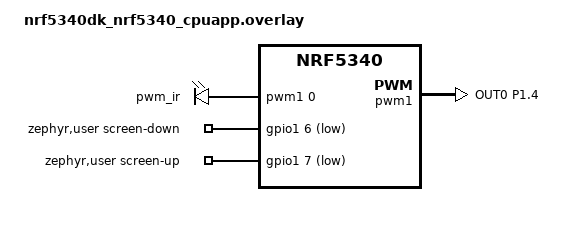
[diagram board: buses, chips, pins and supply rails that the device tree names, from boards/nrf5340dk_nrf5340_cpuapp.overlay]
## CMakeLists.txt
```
# SPDX-License-Identifier: Apache-2.0

cmake_minimum_required(VERSION 3.20.0)
find_package(Zephyr REQUIRED HINTS $ENV{ZEPHYR_BASE})
project(blinky_pwm)

target_sources(app PRIVATE
  src/main.c
  src/ir_remote.c
  src/ir_protocol.c
  src/ir_thread.c
  src/screen_thread.c
  src/projector_thread.c
)
```

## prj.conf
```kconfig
CONFIG_STDOUT_CONSOLE=y
CONFIG_PRINTK=y
CONFIG_PWM=y
CONFIG_LOG=y
CONFIG_LOG_PRINTK=y
CONFIG_LOG_MODE_IMMEDIATE=y
CONFIG_PWM_LOG_LEVEL_DBG=n
```

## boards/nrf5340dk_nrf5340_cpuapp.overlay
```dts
/ {
  aliases {
    pwm-ir = &pwm_ir;
  };

  pwm-ir {
    compatible = "pwm-leds";
    pwm_ir: pwm_ir_0 {
      pwms = <&pwm1 0 PWM_MSEC(20) PWM_POLARITY_NORMAL>;
    };
  };

  zephyr,user {
    screen-down-gpios = <&gpio1 6 GPIO_ACTIVE_LOW>;
    screen-up-gpios   = <&gpio1 7 GPIO_ACTIVE_LOW>;
  };
};

&pinctrl {
  pwm1_default: pwm1_default {
    group1 {
      psels = <NRF_PSEL(PWM_OUT0, 1, 4)>;
    };
  };

  pwm1_sleep: pwm1_sleep {
    group1 {
      psels = <NRF_PSEL(PWM_OUT0, 1, 4)>;
      low-power-enable;
    };
  };
};

&pwm1 {
  status = "okay";
  pinctrl-0 = <&pwm1_default>;
  pinctrl-1 = <&pwm1_sleep>;
  pinctrl-names = "default", "sleep";
};
```

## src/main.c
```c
#include <zephyr/kernel.h>
#include <zephyr/sys/printk.h>

#include "screen_thread.h"
#include "projector_thread.h"

void main(void)
{
  int ret;

  printk("Start main thread\n");

  ret = projector_init();
  if (ret != 0) {
    printk("Error: projector_init() failed with %d\n", ret);
  }

  ret = screen_init();
  if (ret != 0) {
    printk("Error: screen_init() failed with %d\n", ret);
  }

  while (1) {
    // projector_power_on();
    // projector_power_off();

    ret = screen_down();
    if (ret != 0) {
      printk("Error: screen_down() failed with %d\n", ret);
    }

    ret = screen_up();
    if (ret != 0) {
      printk("Error: screen_up() failed with %d\n", ret);
    }

    k_sleep(K_SECONDS(2U));
  }
}
```

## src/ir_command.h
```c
#ifndef IR_COMMAND_H__
#define IR_COMMAND_H__

#include <stdint.h>

typedef struct {
  uint16_t address;
  uint8_t command;
} ir_command_t;

#define IR_COMMAND_BUILD(_address, _command)  \
  (ir_command_t) {                            \
    .address = _address,                      \
    .command = _command,                      \
  }

#endif // IR_COMMAND_H__
```

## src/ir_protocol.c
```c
#include <stdint.h>
#include <errno.h>

#include "ir_protocol.h"

static int build_payload_nec(ir_protocol_t const * const protocol, ir_command_t cmd, uint32_t *payload);

int ir_protocol_build(ir_protocol_t const * const conf, ir_command_t cmd, uint32_t *payload) {
  if (conf->type == IR_PROTOCOL_TYPE_NEC) {
    return build_payload_nec(conf, cmd, payload);
  }

  return -EINVAL; // unknown protocol
}

static int build_payload_nec(ir_protocol_t const * const conf, ir_command_t cmd, uint32_t *payload) {
  uint32_t p = 0;

  if (conf->info.nec.address_size == 16) {
    p |= (( cmd.address & 0xFFFF) << 0);
  } else if (conf->info.nec.address_size == 8) {
    p |= (( cmd.address & 0xFF) << 0);
    p |= ((~cmd.address & 0xFF) << 8);
  } else {
    return -EINVAL; // unknown address size
  }

  p |= (( cmd.command & 0xFF) << 16);
  p |= ((~cmd.command & 0xFF) << 24);

  *payload = p;

  return 0;
}
```

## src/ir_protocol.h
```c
#ifndef IR_PROTOCOL_H__
#define IR_PROTOCOL_H__

#include <stdint.h>
#include "ir_command.h"

typedef enum {
  IR_PROTOCOL_TYPE_NEC,
} ir_protocol_type_t;

typedef struct {
  ir_protocol_type_t type;

  union {
    struct {
      int address_size;
    } nec;
  } info;
} ir_protocol_t;

int ir_protocol_build(ir_protocol_t const * const conf, ir_command_t cmd, uint32_t *payload);

#endif // IR_PROTOCOL_H__
```

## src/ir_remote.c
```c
#include "ir_remote.h"

#include <errno.h>
#include <stdint.h>
#include <stdbool.h>
#include <string.h>

#include <zephyr/kernel.h>
#include <zephyr/drivers/pwm.h>

#define ROUND_DIV(dividend, divisor) (((dividend) + ((divisor) - 1)) / (divisor))

static ir_remote_t conf;
static uint32_t frame_stop_wait_one;
static uint32_t frame_stop_wait_zero;

static struct k_timer frame_start_timer;
static struct k_timer frame_timer;

static struct {
  bool busy;
  int last_error;
  uint32_t start_state;
  uint32_t payload;
  uint32_t payload_iter; // bits
  uint32_t stop_wait;
} state;

static void frame_start_handler(struct k_timer *timer_id);
static void frame_handler(struct k_timer *timer_id);

static uint32_t burst_period = 0;
static inline int burst_on(void) { return pwm_set_dt(conf.pwm, burst_period, burst_period / 2U); }
static inline int burst_off(void) { return pwm_set_dt(conf.pwm, burst_period, 0); }

static int frame_send_next_bit(void);
static int frame_send_end(bool *done);
static void frame_send_error(int err);

int ir_remote_init(ir_remote_t init) {
  conf = init;

  if (!device_is_ready(conf.pwm->dev)) {
    return -ENODEV;
  }

  if (conf.one_mark_time.ticks != conf.zero_mark_time.ticks) {
    printk("Error: one_mark_time != zero_mark_time\n");
    return -EINVAL;
  }

  burst_period = ROUND_DIV((uint32_t)1e9, conf.burst_freq);
  frame_stop_wait_one = ROUND_DIV(conf.one_space_time.ticks, conf.one_mark_time.ticks);
  frame_stop_wait_zero = ROUND_DIV(conf.zero_space_time.ticks, conf.zero_mark_time.ticks);

  // initialize timers
  k_timer_init(&frame_start_timer, frame_start_handler, NULL);
  k_timer_init(&frame_timer, frame_handler, NULL);

  memset(&state, 0, sizeof(state));

  return 0;
}

int ir_remote_send(uint32_t payload) {
  int ret = 0;

  if (state.busy) {
    return -EBUSY;
  }

  state.busy          = true;
  state.start_state   = 0;
  state.payload       = payload;
  state.payload_iter  = 0; // bits
  state.stop_wait     = 0;
  state.last_error    = 0;

  if ((ret = burst_on()) != 0) {
    goto exception;
  }

  k_timer_start(&frame_start_timer, conf.head_mark_time, conf.head_space_time);

  return 0;

exception:
  state.busy = false;
  state.last_error = ret;
  return ret;
}

bool ir_remote_busy(void) {
  return state.busy;
}

int ir_remote_last_error_get(void) {
  return state.last_error;
}

void ir_remote_last_error_clear(void) {
  state.last_error = 0;
}

static void frame_start_handler(struct k_timer *timer_id) {
  int ret = 0;

  if (state.start_state == 0) {
    if ((ret = burst_off()) != 0) {
      goto exception;
    }

    state.start_state = 1;
  } else {
    k_timer_stop(&frame_start_timer);

    if ((ret = frame_send_next_bit()) != 0) {
      goto exception;
    }

    k_timer_start(&frame_timer, conf.one_mark_time, conf.one_mark_time);
  }

  return;

exception:
  frame_send_error(ret);
}

static void frame_handler(struct k_timer *timer_id) {
  int ret;

  if (state.stop_wait > 0) {
    if ((ret = burst_off()) != 0) {
      goto exception;
    }

    --state.stop_wait;
    return;
  }

  if (state.payload_iter >= conf.payload_size) {
    bool done = false;

    if ((ret = frame_send_end(&done)) != 0) {
      goto exception;
    }

    if (done) {
      k_timer_stop(&frame_timer);
      state.busy = false;
    }

    return;
  }

  if ((ret = frame_send_next_bit()) != 0) {
    goto exception;
  }

  return;

exception:
  frame_send_error(ret);
}

static int frame_send_next_bit(void) {
  int ret;

  if ((ret = burst_on()) != 0) {
    return ret;
  }

  uint32_t bit = (state.payload >> state.payload_iter) & 1;

  state.stop_wait = bit ? frame_stop_wait_one : frame_stop_wait_zero;
  state.payload_iter++;

  return 0;
}

static int frame_send_end(bool *done) {
  int ret;

  if (state.payload_iter == conf.payload_size) {
    // start end of frame burst
    if ((ret = burst_on()) != 0) {
      return ret;
    }
    state.payload_iter++;
  } else {
    // end of frame
    if ((ret = burst_off()) != 0) {
      return ret;
    }

    *done = true;
  }

  return 0;
}

static void frame_send_error(int err) {
  k_timer_stop(&frame_start_timer);
  k_timer_stop(&frame_timer);
  burst_off();
  state.busy = false;
  state.last_error = err;
}
```

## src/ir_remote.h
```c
#ifndef IR_REMOTE_H__
#define IR_REMOTE_H__

#include <stdint.h>
#include <stdbool.h>

#include <zephyr/kernel.h>
#include <zephyr/drivers/pwm.h>

typedef struct {
  const struct pwm_dt_spec *pwm;
  uint32_t burst_freq;
  uint32_t payload_size;
  k_timeout_t head_mark_time;
  k_timeout_t head_space_time;
  k_timeout_t one_mark_time;
  k_timeout_t one_space_time;
  k_timeout_t zero_mark_time;
  k_timeout_t zero_space_time;
} ir_remote_t;

int ir_remote_init(ir_remote_t init);
int ir_remote_send(uint32_t payload);
bool ir_remote_busy(void);
int ir_remote_last_error_get(void);
void ir_remote_last_error_clear(void);

#endif // IR_REMOTE_H__
```

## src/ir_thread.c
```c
#include <zephyr/kernel.h>
#include <zephyr/kernel/thread.h>
#include <zephyr/sys/printk.h>
#include <zephyr/device.h>
#include <zephyr/drivers/pwm.h>

#include "ir_command.h"
#include "ir_remote.h"
#include "ir_protocol.h"
#include "ir_thread.h"

#define IR_REMOTE_MESSAGE_QUEUE_SIZE  10
#define IR_REMOTE_THREAD_STACK_SIZE   1024
#define IR_REMOTE_THREAD_PRIORITY     5

static const struct pwm_dt_spec pwm_ir = PWM_DT_SPEC_GET(DT_ALIAS(pwm_ir));

K_MSGQ_DEFINE(my_msgq, sizeof(ir_command_t), IR_REMOTE_MESSAGE_QUEUE_SIZE, 4);
K_THREAD_STACK_DEFINE(my_stack_area, IR_REMOTE_THREAD_STACK_SIZE);

static ir_protocol_t ir_protocol;
static struct k_thread ir_thread_data;
static k_tid_t ir_thread_id;

static void ir_thread(void *a, void *b, void *c);

int ir_thread_init(void) {
  int ret;

  if (!device_is_ready(pwm_ir.dev)) {
    printk("Error: PWM device %s is not ready\n",
           pwm_ir.dev->name);
    return -ENODEV;
  }

  ir_protocol = (ir_protocol_t) {
    .type = IR_PROTOCOL_TYPE_NEC,
    .info = { .nec = { .address_size = 16 } },
  };

  ret = ir_remote_init((ir_remote_t) {
    .pwm              = &pwm_ir,
    .burst_freq       = 38000,
    .payload_size     = 32,
    .head_mark_time   = K_USEC(9000),
    .head_space_time  = K_USEC(4500),
    .one_mark_time    = K_NSEC(562500),
    .one_space_time   = K_NSEC(1687500),
    .zero_mark_time   = K_NSEC(562500),
    .zero_space_time  = K_NSEC(562500),
  });

  ir_thread_id = k_thread_create(
    &ir_thread_data, my_stack_area,
    K_THREAD_STACK_SIZEOF(my_stack_area),
    ir_thread, NULL, NULL, NULL,
    IR_REMOTE_THREAD_PRIORITY, 0, K_NO_WAIT
  );

  return ret;
}

int ir_thread_push(ir_command_t cmd) {
  return k_msgq_put(&my_msgq, &cmd, K_NO_WAIT);
}

static void ir_thread(void *a, void *b, void *c) {
  int ret;
  ir_command_t command;
  uint32_t payload;

  while (1) {
    // pop from queue
    ret = k_msgq_get(&my_msgq, &command, K_FOREVER);
    if (ret) {
      printk("Cannot pop from queue, reason: %d\n", ret);
      continue;
    }

    // prepare payload
    ret = ir_protocol_build(&ir_protocol, command, &payload);
    if (ret) {
      printk("Cannot build command, reason: %d\n", ret);
      continue;
    }

    // send payload
    ret = ir_remote_send(payload);
    if (ret) {
      printk("Cannot send command, reason: %d\n", ret);
      continue;
    }

    k_msleep(100U); // 100ms delay between commands in NEC protocol

    if (ir_remote_last_error_get()) {
      printk("Cannot transfer command, reason: %d\n", ir_remote_last_error_get());
      ir_remote_last_error_clear();
    }
  }
}
```

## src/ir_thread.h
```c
#ifndef IR_THREAD_H__
#define IR_THREAD_H__

#include <stdint.h>

#include "ir_command.h"

/**
 * @brief Initialize IR thread
 *
 * @return int error code
 */
int ir_thread_init(void);

/**
 * @brief Push command to IR thread queue
 *
 * @param cmd command to push
 * @return int error code
 */
int ir_thread_push(ir_command_t cmd);

#endif /* IR_THREAD_H__ */
```

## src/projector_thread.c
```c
#include <zephyr/kernel.h>
#include <zephyr/kernel/thread.h>

#include "ir_command.h"
#include "ir_thread.h"
#include "utils.h"

#define PROJECTOR_MESSAGE_QUEUE_SIZE  10
#define PROJECTOR_THREAD_STACK_SIZE   1024
#define PROJECTOR_THREAD_PRIORITY     5

typedef enum {
  BENQ_KEY_POWER_OFF,
  BENQ_KEY_POWER_ON,
} benq_key_t;

static ir_command_t benq_keys[] = {
  IR_COMMAND_BUILD(0x3000, 0x4E), // Power off
  IR_COMMAND_BUILD(0x3000, 0x4F), // Power on
};

K_MSGQ_DEFINE_STATIC(msgq, sizeof(uint32_t), PROJECTOR_MESSAGE_QUEUE_SIZE, 4);
static K_THREAD_STACK_DEFINE(thread_stack, PROJECTOR_THREAD_STACK_SIZE);
static struct k_thread thread_data;
static k_tid_t thread_id;

static void thread(void *a, void *b, void *c);

int projector_init(void) {
  int ret;

  ret = ir_thread_init();
  if (ret != 0) { return ret; }

  thread_id = k_thread_create(
    &thread_data, thread_stack,
    K_THREAD_STACK_SIZEOF(thread_stack),
    thread, NULL, NULL, NULL,
    PROJECTOR_THREAD_PRIORITY, 0, K_NO_WAIT
  );

  return 0;
}

int projector_power_on(void) {
  uint32_t cmd = BENQ_KEY_POWER_ON;
  return k_msgq_put(&msgq, &cmd, K_NO_WAIT);
}

int projector_power_off(void) {
  uint32_t cmd = BENQ_KEY_POWER_OFF;
  return k_msgq_put(&msgq, &cmd, K_NO_WAIT);
}

static int power_off(void);
static int power_on(void);

static void thread(void *a, void *b, void *c) {
  while (1) {
    uint32_t cmd;
    k_msgq_get(&msgq, &cmd, K_FOREVER);

    switch (cmd) {
      case BENQ_KEY_POWER_ON:  power_on();  break;
      case BENQ_KEY_POWER_OFF: power_off(); break;
    }
  }
}

static int power_on(void) {
  int ret;

  ret = ir_thread_push(benq_keys[BENQ_KEY_POWER_ON]);
  if (ret != 0) { return ret; }

  ret = ir_thread_push(benq_keys[BENQ_KEY_POWER_ON]);
  if (ret != 0) { return ret; }

  ret = ir_thread_push(benq_keys[BENQ_KEY_POWER_ON]);
  if (ret != 0) { return ret; }

  return 0;
}

static int power_off(void) {
  int ret;

  // request to turn off the projector
  ret = ir_thread_push(benq_keys[BENQ_KEY_POWER_OFF]);
  if (ret != 0) { return ret; }
  ret = ir_thread_push(benq_keys[BENQ_KEY_POWER_OFF]);
  if (ret != 0) { return ret; }
  ret = ir_thread_push(benq_keys[BENQ_KEY_POWER_OFF]);
  if (ret != 0) { return ret; }

  k_sleep(K_SECONDS(2U));

  // confirm power off
  ret = ir_thread_push(benq_keys[BENQ_KEY_POWER_OFF]);
  if (ret != 0) { return ret; }
  ret = ir_thread_push(benq_keys[BENQ_KEY_POWER_OFF]);
  if (ret != 0) { return ret; }
  ret = ir_thread_push(benq_keys[BENQ_KEY_POWER_OFF]);
  if (ret != 0) { return ret; }

  return 0;
}
```

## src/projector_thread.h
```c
#ifndef PROJECTOR_THREAD_H__
#define PROJECTOR_THREAD_H__

int projector_init(void);
int projector_power_on(void);
int projector_power_off(void);

#endif // PROJECTOR_THREAD_H__
```

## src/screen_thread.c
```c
#include <zephyr/kernel.h>
#include <zephyr/drivers/gpio.h>

#include "screen_thread.h"
#include "utils.h"

#define SCREEN_MESSAGE_QUEUE_SIZE  10
#define SCREEN_THREAD_STACK_SIZE   1024
#define SCREEN_THREAD_PRIORITY     5

typedef enum {
  SCREEN_CMD_DOWN,
  SCREEN_CMD_UP,
} screen_cmd_t;

const struct screen_gpios {
  struct gpio_dt_spec down;
  struct gpio_dt_spec up;
} screen_gpios = {
  .down = GPIO_DT_SPEC_GET(DT_PATH(zephyr_user), screen_down_gpios),
  .up   = GPIO_DT_SPEC_GET(DT_PATH(zephyr_user), screen_up_gpios),
};

K_MSGQ_DEFINE_STATIC(msgq, sizeof(uint32_t), SCREEN_MESSAGE_QUEUE_SIZE, 4);
static K_THREAD_STACK_DEFINE(thread_stack, SCREEN_THREAD_STACK_SIZE);
static struct k_thread thread_data;
static k_tid_t thread_id;

static int init_gpio(void);
static void thread(void *a, void *b, void *c);

int screen_init(void) {
  int ret;

  ret = init_gpio();
  if (ret != 0) { return ret; }

  thread_id = k_thread_create(
    &thread_data, thread_stack,
    K_THREAD_STACK_SIZEOF(thread_stack),
    thread, NULL, NULL, NULL,
    SCREEN_THREAD_PRIORITY, 0, K_NO_WAIT
  );

  return 0;
}

static int init_gpio(void) {
  int ret;

  // Configure screen GPIOs
  ret = gpio_pin_configure_dt(&screen_gpios.down, GPIO_INPUT | GPIO_PULL_UP);
  if (ret != 0) { return ret; }

  ret = gpio_pin_configure_dt(&screen_gpios.up, GPIO_INPUT | GPIO_PULL_UP);
  if (ret != 0) { return ret; }

  return 0;
}

int screen_down(void) {
  uint32_t cmd = SCREEN_CMD_DOWN;
  return k_msgq_put(&msgq, &cmd, K_NO_WAIT);
}

int screen_up(void) {
  uint32_t cmd = SCREEN_CMD_UP;
  return k_msgq_put(&msgq, &cmd, K_NO_WAIT);
}

static int down(void);
static int up(void);

static void thread(void *a, void *b, void *c) {
  int ret = 0;

  while (1) {
    uint32_t cmd;
    k_msgq_get(&msgq, &cmd, K_FOREVER);

    switch (cmd) {
      case SCREEN_CMD_DOWN: ret = down(); break;
      case SCREEN_CMD_UP:   ret = up();   break;
    }

    if (ret != 0) {
      printk("Error: screen thread failed with %d\n", ret);
    }
  }
}

static int down(void) {
  int ret;

  ret = gpio_pin_configure_dt(&screen_gpios.down, GPIO_OUTPUT_LOW);
  if (ret != 0) { return ret; }

  k_sleep(K_MSEC(100));

  ret = gpio_pin_configure_dt(&screen_gpios.down, GPIO_INPUT | GPIO_PULL_UP);
  if (ret != 0) { return ret; }


  return 0;
}

static int up(void) {
  int ret;

  ret = gpio_pin_configure_dt(&screen_gpios.up, GPIO_OUTPUT_LOW);
  if (ret != 0) { return ret; }

  k_sleep(K_MSEC(100));

  ret = gpio_pin_configure_dt(&screen_gpios.up, GPIO_INPUT | GPIO_PULL_UP);
  if (ret != 0) { return ret; }


  return 0;
}
```

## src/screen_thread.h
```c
#ifndef SCREEN_THREAD_H__
#define SCREEN_THREAD_H__

int screen_init(void);
int screen_down(void);
int screen_up(void);

#endif // SCREEN_THREAD_H__
```

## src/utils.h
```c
#ifndef UTILS_H__
#define UTILS_H__

#define K_MSGQ_DEFINE_STATIC(q_name, q_msg_size, q_max_msgs, q_align) \
  static char __noinit __aligned(q_align)                             \
    _k_fifo_buf_##q_name[(q_max_msgs) * (q_msg_size)];                \
  static STRUCT_SECTION_ITERABLE(k_msgq, q_name) =                    \
         Z_MSGQ_INITIALIZER(q_name, _k_fifo_buf_##q_name,             \
          q_msg_size, q_max_msgs)

#endif // UTILS_H__
```
